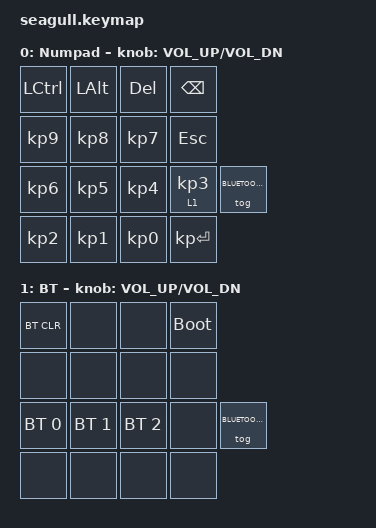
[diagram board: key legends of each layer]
#include <behaviors.dtsi>
#include <dt-bindings/zmk/bt.h>
#include <dt-bindings/zmk/keys.h>

#define NUMPAD 0
#define BLUETOOTH 1

/ {
    keymap {
        compatible = "zmk,keymap";

        layer_numpad {
            display-name = "Numpad";

            // +---------------------------+                      
            // |   7  |   8  |   9  |   *  |                      
            // +------+------+------+------+
            // |   4  |   5  |   6  |   /  |                      
            // +------+------+------+------+-------+     
            // |   1  |   2  |   3  |   *  | L-BT  |                     
            // +------+------+------+------+-------+    
            // |   0  |   .  |  +   |   =  |                          
            // +------+------+------+------+  

            bindings = <
&kp LEFT_CONTROL  &kp LEFT_ALT     &kp DEL          &kp BACKSPACE
&kp KP_NUMBER_9   &kp KP_NUMBER_8  &kp KP_NUMBER_7  &kp ESCAPE
&kp KP_NUMBER_6   &kp KP_NUMBER_5  &kp KP_NUMBER_4  &lt 1 KP_NUMBER_3  &tog BLUETOOTH
&kp KP_NUMBER_2   &kp KP_NUMBER_1  &kp KP_NUMBER_0  &kp KP_ENTER
            >;

            sensor-bindings = <&inc_dec_kp C_VOL_UP C_VOL_DN>;
        };

        layer_bluetooth {
            display-name = "BT";

            // +---------------------------+                      
            // |CLEAR |      |      |BTLDR |                      
            // +------+------+------+------+
            // |      |      |      |      |                      
            // +------+------+------+------+-------+     
            // | PF1  | PF2  |  PF3 |      | L-BT  |                      
            // +------+------+------+------+-------+    
            // |      |      |      |      |                          
            // +------+------+------+------+     

            bindings = <
&bt BT_CLR    &none         &none         &bootloader
&none         &none         &none         &none
&bt BT_SEL 0  &bt BT_SEL 1  &bt BT_SEL 2  &none        &tog BLUETOOTH
&none         &none         &none         &none
            >;

            sensor-bindings = <&inc_dec_kp C_VOL_UP C_VOL_DN>;
        };
    };
};
